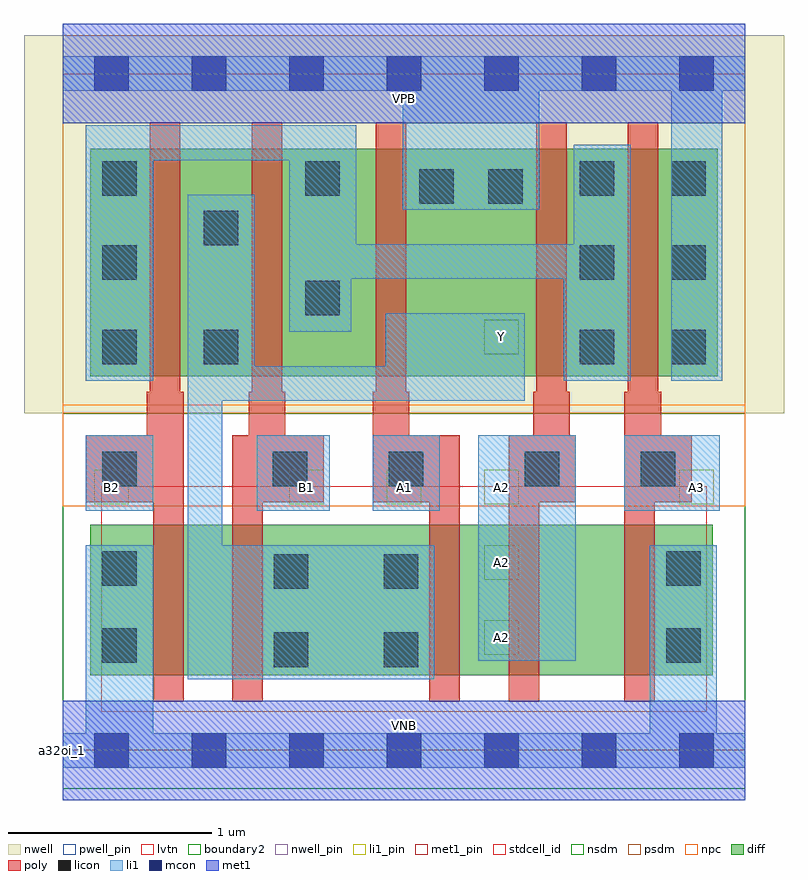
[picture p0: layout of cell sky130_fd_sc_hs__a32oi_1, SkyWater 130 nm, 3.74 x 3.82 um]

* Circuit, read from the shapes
.subckt sky130_fd_sc_hs__a32oi_1 A1 A2 A3 B1 B2 VGND VNB VPB VPWR Y
XM1 n1 B2 VGND VNB sky130_fd_pr__nfet_01v8_lvt w=0.74 l=0.15
XM2 Y B1 n1 VNB sky130_fd_pr__nfet_01v8_lvt w=0.74 l=0.15
XM3 n2 A1 Y VNB sky130_fd_pr__nfet_01v8_lvt w=0.74 l=0.15
XM4 n3 A2 n2 VNB sky130_fd_pr__nfet_01v8_lvt w=0.74 l=0.15
XM5 VGND A3 n3 VNB sky130_fd_pr__nfet_01v8_lvt w=0.74 l=0.15
XM6 Y B2 n4 VPB sky130_fd_pr__pfet_01v8 w=1.12 l=0.15
XM7 n4 B1 Y VPB sky130_fd_pr__pfet_01v8 w=1.12 l=0.15
XM8 VPWR A1 n4 VPB sky130_fd_pr__pfet_01v8 w=1.12 l=0.15
XM9 n4 A2 VPWR VPB sky130_fd_pr__pfet_01v8 w=1.12 l=0.15
XM10 VPWR A3 n4 VPB sky130_fd_pr__pfet_01v8 w=1.12 l=0.15
.ends

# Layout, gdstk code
import gdstk
lib = gdstk.Library(unit=1e-6, precision=1e-09)
def R(c, l, rs):  # rectangles x0, y0, x1, y1
    for r in rs: c.add(gdstk.rectangle(r[:2], r[2:], *l))
def A(c, l, x, y, w, h, nx, ny, dx, dy):  # array of equal rectangles
    R(c, l, [(x+i*dx, y+j*dy, x+i*dx+w, y+j*dy+h) for i in range(nx) for j in range(ny)])
def P(c, l, *ps):  # polygons
    for p in ps: c.add(gdstk.Polygon(p, *l))
nwell_pin = (64, 16)
nwell = (64, 20)
diff = (65, 20)
poly = (66, 20)
licon = (66, 44)
li1_pin = (67, 16)
li1 = (67, 20)
mcon = (67, 44)
met1_pin = (68, 16)
met1 = (68, 20)
stdcell_id = (81, 4)
nsdm = (93, 44)
psdm = (94, 20)
npc = (95, 20)
pwell_pin = (122, 16)
lvtn = (125, 44)
boundary2 = (236, 0)

sky130_fd_sc_hs__a32oi_1 = lib.new_cell('sky130_fd_sc_hs__a32oi_1')
R(sky130_fd_sc_hs__a32oi_1, nwell_pin, [(0,3.085,3.36,3.33)])
R(sky130_fd_sc_hs__a32oi_1, nwell, [(-0.19,1.66,3.55,3.52)])
R(sky130_fd_sc_hs__a32oi_1, diff, [(0.135,0.37,3.2,1.11), (0.135,1.84,3.225,2.96)])
P(sky130_fd_sc_hs__a32oi_1, poly, [(1.285,1.55),(1.095,1.55),(1.095,1.765),(1.08,1.765),(1.08,3.09),(0.93,3.09),(0.93,1.765),(0.915,1.765),(0.915,1.55),(0.835,1.55),(0.835,0.24),(0.985,0.24),(0.985,1.22),(1.285,1.22)],
  [(1.955,1.55),(1.705,1.55),(1.705,1.765),(1.69,1.765),(1.69,3.09),(1.54,3.09),(1.54,1.765),(1.525,1.765),(1.525,1.22),(1.805,1.22),(1.805,0.24),(1.955,0.24)],
  [(2.525,1.55),(2.495,1.55),(2.495,1.765),(2.48,1.765),(2.48,3.09),(2.33,3.09),(2.33,1.765),(2.315,1.765),(2.315,1.55),(2.195,1.55),(2.195,0.24),(2.345,0.24),(2.345,1.22),(2.525,1.22)],
  [(3.095,1.55),(2.945,1.55),(2.945,1.765),(2.93,1.765),(2.93,3.09),(2.78,3.09),(2.78,1.765),(2.765,1.765),(2.765,0.24),(2.915,0.24),(2.915,1.22),(3.095,1.22)],
  [(0.595,1.765),(0.58,1.765),(0.58,3.09),(0.43,3.09),(0.43,1.765),(0.415,1.765),(0.415,1.55),(0.115,1.55),(0.115,1.22),(0.445,1.22),(0.445,0.24),(0.595,0.24)])
A(sky130_fd_sc_hs__a32oi_1, licon, 0.195, 1.9, 0.17, 0.17, 1, 3, 0, 0.415)
A(sky130_fd_sc_hs__a32oi_1, licon, 2.545, 1.9, 0.17, 0.17, 1, 3, 0, 0.415)
A(sky130_fd_sc_hs__a32oi_1, licon, 2.995, 1.9, 0.17, 0.17, 1, 3, 0, 0.415)
R(sky130_fd_sc_hs__a32oi_1, licon, [(1.04,0.41,1.21,0.58), (1.58,0.41,1.75,0.58), (0.195,0.43,0.365,0.6), (2.97,0.43,3.14,0.6), (1.04,0.795,1.21,0.965), (1.58,0.795,1.75,0.965), (0.195,0.81,0.365,0.98), (2.97,0.81,3.14,0.98), (0.195,1.3,0.365,1.47), (1.035,1.3,1.205,1.47), (1.605,1.3,1.775,1.47), (2.275,1.3,2.445,1.47), (2.845,1.3,3.015,1.47), (0.695,1.9,0.865,2.07), (1.195,2.14,1.365,2.31), (0.695,2.485,0.865,2.655), (1.755,2.69,1.925,2.86), (2.095,2.69,2.265,2.86), (1.195,2.73,1.365,2.9)])
A(sky130_fd_sc_hs__a32oi_1, li1_pin, 1.115, 1.21, 0.17, 0.17, 3, 1, 0.48, 0)
R(sky130_fd_sc_hs__a32oi_1, li1_pin, [(2.075,0.47,2.245,0.64), (2.075,0.84,2.245,1.01), (0.155,1.21,0.325,1.38), (3.035,1.21,3.205,1.38), (2.075,1.95,2.245,2.12)])
R(sky130_fd_sc_hs__a32oi_1, li1, [(2.045,0.44,2.525,1.55), (0.115,1.18,0.445,1.55), (0.955,1.18,1.315,1.55), (1.525,1.18,1.855,1.55), (2.765,1.18,3.235,1.55)])
P(sky130_fd_sc_hs__a32oi_1, li1, [(0,-0.085),(0,0.085),(0.115,0.085),(0.115,1.01),(0.445,1.01),(0.445,0.085),(2.89,0.085),(2.89,1.01),(3.22,1.01),(3.22,0.085),(3.36,0.085),(3.36,-0.085)],
  [(0,3.245),(0,3.415),(3.36,3.415),(3.36,3.245),(3.245,3.245),(3.245,1.82),(2.995,1.82),(2.995,3.245),(2.345,3.245),(2.345,2.66),(1.675,2.66),(1.675,3.245)],
  [(0.945,1.89),(1.59,1.89),(1.59,2.15),(2.275,2.15),(2.275,1.72),(0.785,1.72),(0.785,1.01),(1.83,1.01),(1.83,0.35),(0.615,0.35),(0.615,2.735),(0.945,2.735)],
  [(1.445,2.49),(2.515,2.49),(2.515,2.98),(2.795,2.98),(2.795,1.82),(2.465,1.82),(2.465,2.32),(1.42,2.32),(1.42,2.06),(1.115,2.06),(1.115,2.905),(0.445,2.905),(0.445,1.82),(0.115,1.82),(0.115,3.075),(1.445,3.075)])
A(sky130_fd_sc_hs__a32oi_1, mcon, 0.155, -0.085, 0.17, 0.17, 7, 2, 0.48, 3.33)
R(sky130_fd_sc_hs__a32oi_1, met1_pin, [(0,0,3.36,0.245), (0,3.085,3.36,3.33)])
R(sky130_fd_sc_hs__a32oi_1, met1, [(0,-0.245,3.36,0.245), (0,3.085,3.36,3.575)])
R(sky130_fd_sc_hs__a32oi_1, stdcell_id, [(0,0,3.36,3.33)])
R(sky130_fd_sc_hs__a32oi_1, nsdm, [(0,-0.19,3.36,1.66)])
R(sky130_fd_sc_hs__a32oi_1, psdm, [(0,1.66,3.36,3.52)])
R(sky130_fd_sc_hs__a32oi_1, npc, [(0,1.2,3.36,1.7)])
R(sky130_fd_sc_hs__a32oi_1, pwell_pin, [(0,0,3.36,0.245)])
R(sky130_fd_sc_hs__a32oi_1, lvtn, [(0.19,0.19,3.17,1.3)])
R(sky130_fd_sc_hs__a32oi_1, boundary2, [(0,0,3.36,3.33)])
sky130_fd_sc_hs__a32oi_1.add(gdstk.Label('a32oi_1', (0,0), layer=83, texttype=44))
sky130_fd_sc_hs__a32oi_1.add(gdstk.Label('VNB', (1.68,0.123), layer=64, texttype=59))
sky130_fd_sc_hs__a32oi_1.add(gdstk.Label('VPB', (1.68,3.208), layer=64, texttype=5))
sky130_fd_sc_hs__a32oi_1.add(gdstk.Label('VPWR', (1.68,3.208), layer=68, texttype=5))
sky130_fd_sc_hs__a32oi_1.add(gdstk.Label('VGND', (1.68,0.123), layer=68, texttype=5))
sky130_fd_sc_hs__a32oi_1.add(gdstk.Label('A3', (3.12,1.295), layer=67, texttype=5))
sky130_fd_sc_hs__a32oi_1.add(gdstk.Label('B2', (0.24,1.295), layer=67, texttype=5))
sky130_fd_sc_hs__a32oi_1.add(gdstk.Label('B1', (1.2,1.295), layer=67, texttype=5))
sky130_fd_sc_hs__a32oi_1.add(gdstk.Label('A2', (2.16,0.555), layer=67, texttype=5))
sky130_fd_sc_hs__a32oi_1.add(gdstk.Label('A2', (2.16,0.925), layer=67, texttype=5))
sky130_fd_sc_hs__a32oi_1.add(gdstk.Label('A2', (2.16,1.295), layer=67, texttype=5))
sky130_fd_sc_hs__a32oi_1.add(gdstk.Label('Y', (2.16,2.035), layer=67, texttype=5))
sky130_fd_sc_hs__a32oi_1.add(gdstk.Label('A1', (1.68,1.295), layer=67, texttype=5))

lib.write_gds('sky130_fd_sc_hs__a32oi_1.gds')
